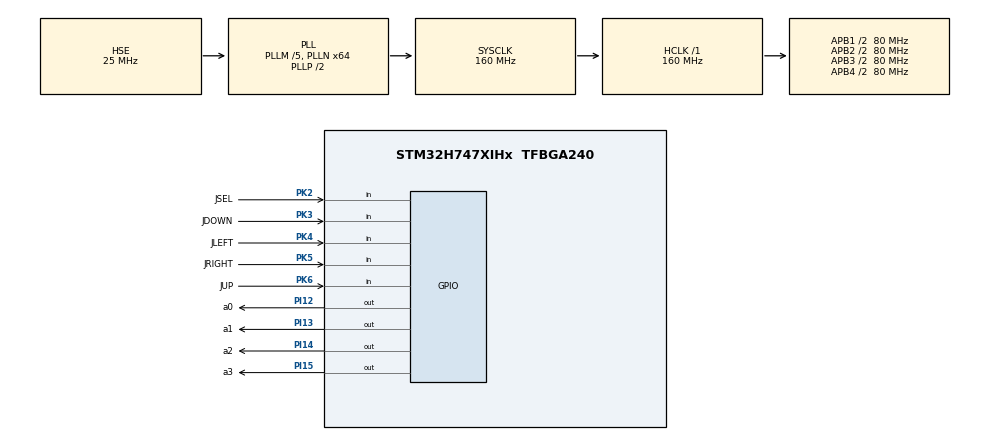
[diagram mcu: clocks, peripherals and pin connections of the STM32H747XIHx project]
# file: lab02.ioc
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CortexM4.IPs=BDMA,DMA,FATFS_M4\:I,FREERTOS_M4\:I,IWDG2\:I,MDMA,NVIC2\:I,RCC,USB_DEVICE_M4\:I,USB_HOST_M4\:I,WWDG2\:I,USART1,USB_OTG_HS\:I,SPI2\:I,ADC1\:I,ADC3\:I,FMC\:I,QUADSPI\:I,SAI1\:I,ETH\:I,SPI5\:I,TIM8\:I,UART8\:I,DCMI\:I,RTC\:I,SDMMC1\:I,SPDIFRX1\:I,HDMI_CEC\:I,TIM13\:I,TIM3\:I,DEBUG,PDM2PCM_M4\:I,PWR,RESMGR_UTILITY,SYS_M4\:I,CORTEX_M4\:I,OPENAMP_M4\:I,VREFBUF,GPIO
CortexM7.IPs=BDMA\:I,DMA\:I,FATFS_M7\:I,FREERTOS_M7\:I,IWDG1\:I,MDMA\:I,NVIC1\:I,RCC\:I,USB_DEVICE_M7\:I,USB_HOST_M7\:I,WWDG1\:I,USART1\:I,CORTEX_M7\:I,DEBUG\:I,PDM2PCM_M7\:I,PWR\:I,RESMGR_UTILITY\:I,SYS\:I,OPENAMP_M7\:I,VREFBUF\:I,GPIO\:I
CortexM7.Pins=PK5,PK4,PK6,PK3,PI12,PI13,PI14,PK2,PI15
Mcu.Family=STM32H7
Mcu.Name=STM32H747XIHx
Mcu.Package=TFBGA240
NVIC1.PriorityGroup=NVIC_PRIORITYGROUP_4
NVIC2.PriorityGroup=NVIC_PRIORITYGROUP_4
PH0-OSC_IN\ (PH0).Mode=HSE-External-Oscillator
PH0-OSC_IN\ (PH0).PinAttribute=Free
PH0-OSC_IN\ (PH0).Signal=RCC_OSC_IN
PH1-OSC_OUT\ (PH1).Mode=HSE-External-Oscillator
PH1-OSC_OUT\ (PH1).PinAttribute=Free
PH1-OSC_OUT\ (PH1).Signal=RCC_OSC_OUT
PI12.GPIO_Label=a0
PI12.PinAttribute=CortexM7
PI12.Signal=GPIO_Output
PI13.GPIO_Label=a1
PI13.PinAttribute=CortexM7
PI13.Signal=GPIO_Output
PI14.GPIO_Label=a2
PI14.PinAttribute=CortexM7
PI14.Signal=GPIO_Output
PI15.GPIO_Label=a3
PI15.PinAttribute=CortexM7
PI15.Signal=GPIO_Output
PK2.GPIO_Label=JSEL
PK2.GPIO_PuPd=GPIO_PULLUP
PK2.PinAttribute=CortexM7
PK2.Signal=GPIO_Input
PK3.GPIO_Label=JDOWN
PK3.GPIO_PuPd=GPIO_PULLUP
PK3.PinAttribute=CortexM7
PK3.Signal=GPIO_Input
PK4.GPIO_Label=JLEFT
PK4.GPIO_PuPd=GPIO_PULLUP
PK4.PinAttribute=CortexM7
PK4.Signal=GPIO_Input
PK5.GPIO_Label=JRIGHT
PK5.GPIO_PuPd=GPIO_PULLUP
PK5.PinAttribute=CortexM7
PK5.Signal=GPIO_Input
PK6.GPIO_Label=JUP
PK6.GPIO_PuPd=GPIO_PULLUP
PK6.PinAttribute=CortexM7
PK6.Signal=GPIO_Input
ProjectManager.HeapSize=M4-0x200,M7-0x200
ProjectManager.StackSize=M4-0x400,M7-0x400
ProjectManager.TargetToolchain=STM32CubeIDE
RCC.ADCFreq_Value=75000000
RCC.APB1Freq_Value=80000000
RCC.APB2Freq_Value=80000000
RCC.APB3Freq_Value=80000000
RCC.APB4Freq_Value=80000000
RCC.CortexFreq_Value=160000000
RCC.D1PPRE=RCC_APB3_DIV2
RCC.D2PPRE1=RCC_APB1_DIV2
RCC.D2PPRE2=RCC_APB2_DIV2
RCC.D3PPRE=RCC_APB4_DIV2
RCC.DIVM1=5
RCC.DIVM2=2
RCC.DIVN1=64
RCC.DIVN2=12
RCC.DIVQ1=5
RCC.HCLKFreq_Value=160000000
RCC.PLL2FRACN=0
RCC.PLL3FRACN=0
RCC.PLLFRACN=0
RCC.PLLSourceVirtual=RCC_PLLSOURCE_HSE
RCC.PWR_Regulator_Voltage_Scale=PWR_REGULATOR_VOLTAGE_SCALE1
RCC.SYSCLKFreq_VALUE=160000000
RCC.SYSCLKSource=RCC_SYSCLKSOURCE_PLLCLK
RCC.SupplySource=PWR_DIRECT_SMPS_SUPPLY
RCC.USBFreq_Value=64000000
VP_SYS_M4_VS_Systick.Mode=SysTick
board=STM32H747I-DISCO

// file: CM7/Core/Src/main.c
/* USER CODE BEGIN Header */
/**
  ******************************************************************************
  * @file           : main.c
  * @brief          : Main program body
  ******************************************************************************
  * @attention
  *
  * Copyright (c) 2024 STMicroelectronics.
  * All rights reserved.
  *
  * This software is licensed under terms that can be found in the LICENSE file
  * in the root directory of this software component.
  * If no LICENSE file comes with this software, it is provided AS-IS.
  *
  ******************************************************************************
  */
/* USER CODE END Header */
#include "main.h"

/* USER CODE BEGIN PD */

#ifndef HSEM_ID_0
#define HSEM_ID_0 (0U) /* HW semaphore 0*/
#endif

/* USER CODE END PD */

void SystemClock_Config(void);
static void MX_GPIO_Init(void);
/* USER CODE BEGIN PFP */

uint8_t up_last_state = GPIO_PIN_RESET;
uint8_t up_current_state;

uint8_t down_last_state = GPIO_PIN_RESET;
uint8_t down_current_state;

uint8_t left_last_state = GPIO_PIN_RESET;
uint8_t left_current_state;

uint8_t right_last_state = GPIO_PIN_RESET;
uint8_t right_current_state;

uint8_t select_last_state = GPIO_PIN_RESET;
uint8_t select_current_state;

uint8_t a0_state = 0;
uint8_t a1_state = 0;
uint8_t a2_state = 0;
uint8_t a3_state = 0;
uint8_t leds_locked = 0;
uint8_t select_off = 0;

uint32_t my_initialized_var = 200;
uint32_t my_initialized_var1 = 300;
uint32_t my_initialized_var2 = 400;

void toggle_a0() {
    LL_GPIO_TogglePin(GPIOI, a0_Pin);
    a0_state = !a0_state;
}
void toggle_a1() {
    LL_GPIO_TogglePin(GPIOI, a1_Pin);
    a1_state = !a1_state;
}
void toggle_a2() {
    LL_GPIO_TogglePin(GPIOI, a2_Pin);
    a2_state = !a2_state;
}
void toggle_a3() {
    LL_GPIO_TogglePin(GPIOI, a3_Pin);
    a3_state = !a3_state;
}

void update_led_states(void) {
    uint32_t pins[] = {a0_Pin, a1_Pin, a2_Pin, a3_Pin};
    int states[] = {a0_state, a1_state, a2_state, a3_state};

    for (int i = 0; i < 4; i++) {
        if (states[i] == 0) {
            LL_GPIO_SetOutputPin(GPIOI, pins[i]);
        } else {
            LL_GPIO_ResetOutputPin(GPIOI, pins[i]);
        }
    }
}

void update_input_states()
{
	up_last_state = up_current_state;
	down_last_state = down_current_state;
	left_last_state = left_current_state;
	right_last_state = right_current_state;
}

void initialize_leds(void)
{
	leds_locked = 0;
	a0_state = 0;
	a1_state = 0;
	a2_state = 1;
	a3_state = 0;
	update_led_states();
}

void turn_off_all(void)
{
	a0_state = 0;
	a1_state = 0;
	a2_state = 0;
	a3_state = 0;
	update_led_states();
}

void initialize_inputs(void)
{
    up_current_state = LL_GPIO_IsInputPinSet(GPIOK, JUP_Pin);
    down_current_state = LL_GPIO_IsInputPinSet(GPIOK, JDOWN_Pin);
    left_current_state = LL_GPIO_IsInputPinSet(GPIOK, JLEFT_Pin);
    right_current_state = LL_GPIO_IsInputPinSet(GPIOK, JRIGHT_Pin);
    select_current_state = LL_GPIO_IsInputPinSet(GPIOK, JSEL_Pin);
}
void handle_input(void)
{
    initialize_inputs();
    if (leds_locked == 1) {
        return;
    }
    if (up_last_state == GPIO_PIN_RESET && up_current_state == GPIO_PIN_SET) {
        if (a0_state == 0) {
            toggle_a0();
        } else if (a1_state == 0) {
            toggle_a1();
        } else if (a2_state == 0) {
            toggle_a2();
        } else if (a3_state == 0) {
            toggle_a3();
        }
    }

    if (down_last_state == GPIO_PIN_RESET && down_current_state == GPIO_PIN_SET) {
        if (a3_state == 1) {
            toggle_a3();
        } else if (a2_state == 1) {
            toggle_a2();
        } else if (a1_state == 1) {
            toggle_a1();
        } else if (a0_state == 1) {
            toggle_a0();
        }
    }

    if (left_last_state == GPIO_PIN_RESET && left_current_state == GPIO_PIN_SET) {
        int temp_left = a0_state;
        a0_state = a3_state;
        a3_state = a2_state;
        a2_state = a1_state;
        a1_state = temp_left;
        update_led_states();
    }

    if (right_last_state == GPIO_PIN_RESET && right_current_state == GPIO_PIN_SET) {
        int temp_left = a0_state;
        a0_state = a1_state;
        a1_state = a2_state;
        a2_state = a3_state;
        a3_state = temp_left;
        update_led_states();
    }

    update_input_states();
}

void lock_leds(void) { leds_locked = 1; }
void unlock_leds(void) { leds_locked = 0; }
void reset_leds(void)
{
    a0_state = 0;
    a1_state = 0;
    a2_state = 0;
    a3_state = 0;
    update_led_states();
    leds_locked = 1;
}
/* USER CODE END PFP */

int main(void)
{

/* USER CODE BEGIN Boot_Mode_Sequence_0 */
  int32_t timeout;
/* USER CODE END Boot_Mode_Sequence_0 */

/* USER CODE BEGIN Boot_Mode_Sequence_1 */
  /* Wait until CPU2 boots and enters in stop mode or timeout*/
  timeout = 0xFFFF;
  while((__HAL_RCC_GET_FLAG(RCC_FLAG_D2CKRDY) != RESET) && (timeout-- > 0));
  if ( timeout < 0 )
  {
  Error_Handler();
  }
/* USER CODE END Boot_Mode_Sequence_1 */
  /* MCU Configuration--------------------------------------------------------*/

  /* Reset of all peripherals, Initializes the Flash interface and the Systick. */
  HAL_Init();

  /* Configure the system clock */
  SystemClock_Config();
/* USER CODE BEGIN Boot_Mode_Sequence_2 */
/* When system initialization is finished, Cortex-M7 will release Cortex-M4 by means of
HSEM notification */
/*HW semaphore Clock enable*/
__HAL_RCC_HSEM_CLK_ENABLE();
/*Take HSEM */
HAL_HSEM_FastTake(HSEM_ID_0);
/*Release HSEM in order to notify the CPU2(CM4)*/
HAL_HSEM_Release(HSEM_ID_0,0);
/* wait until CPU2 wakes up from stop mode */
timeout = 0xFFFF;
while((__HAL_RCC_GET_FLAG(RCC_FLAG_D2CKRDY) == RESET) && (timeout-- > 0));
if ( timeout < 0 )
{
Error_Handler();
}
/* USER CODE END Boot_Mode_Sequence_2 */

  /* Initialize all configured peripherals */
  MX_GPIO_Init();
  /* USER CODE BEGIN 2 */
  reset_leds();
  initialize_leds();
  turn_off_all();
  lock_leds();
  /* USER CODE END 2 */

  /* Infinite loop */
  while (1)
  {
	  handle_input();

	 	  select_current_state = LL_GPIO_IsInputPinSet(GPIOK, JSEL_Pin);
	 	  if (select_last_state == GPIO_PIN_RESET && select_current_state == GPIO_PIN_SET) {
	 		  if (select_off == 0)
	 		  {
	 			  turn_off_all();
	 			  select_off = 1;
	 		  } else if (select_off == 1)
	 		  {
	 			  unlock_leds();
	 			  initialize_leds();
	 			  select_off = 2;
	 		  } else if (select_off == 2)
	 		  {
	 			  lock_leds();
	 			  select_off = 0;
	 		  }
	 	  }
	 	  select_last_state = select_current_state;
	 	  LL_mDelay(20);
  }
}

void SystemClock_Config(void)
{
  RCC_OscInitTypeDef RCC_OscInitStruct = {0};
  RCC_ClkInitTypeDef RCC_ClkInitStruct = {0};

  /** Supply configuration update enable
  */
  HAL_PWREx_ConfigSupply(PWR_DIRECT_SMPS_SUPPLY);

  /** Configure the main internal regulator output voltage
  */
  __HAL_PWR_VOLTAGESCALING_CONFIG(PWR_REGULATOR_VOLTAGE_SCALE1);

  while(!__HAL_PWR_GET_FLAG(PWR_FLAG_VOSRDY)) {}

  /** Initializes the RCC Oscillators according to the specified parameters
  * in the RCC_OscInitTypeDef structure.
  */
  RCC_OscInitStruct.OscillatorType = RCC_OSCILLATORTYPE_HSE;
  RCC_OscInitStruct.HSEState = RCC_HSE_ON;
  RCC_OscInitStruct.PLL.PLLState = RCC_PLL_ON;
  RCC_OscInitStruct.PLL.PLLSource = RCC_PLLSOURCE_HSE;
  RCC_OscInitStruct.PLL.PLLM = 5;
  RCC_OscInitStruct.PLL.PLLN = 64;
  RCC_OscInitStruct.PLL.PLLP = 2;
  RCC_OscInitStruct.PLL.PLLQ = 5;
  RCC_OscInitStruct.PLL.PLLR = 2;
  RCC_OscInitStruct.PLL.PLLRGE = RCC_PLL1VCIRANGE_2;
  RCC_OscInitStruct.PLL.PLLVCOSEL = RCC_PLL1VCOWIDE;
  RCC_OscInitStruct.PLL.PLLFRACN = 0;
  if (HAL_RCC_OscConfig(&RCC_OscInitStruct) != HAL_OK)
  {
    Error_Handler();
  }

  /** Initializes the CPU, AHB and APB buses clocks
  */
  RCC_ClkInitStruct.ClockType = RCC_CLOCKTYPE_HCLK|RCC_CLOCKTYPE_SYSCLK
                              |RCC_CLOCKTYPE_PCLK1|RCC_CLOCKTYPE_PCLK2
                              |RCC_CLOCKTYPE_D3PCLK1|RCC_CLOCKTYPE_D1PCLK1;
  RCC_ClkInitStruct.SYSCLKSource = RCC_SYSCLKSOURCE_PLLCLK;
  RCC_ClkInitStruct.SYSCLKDivider = RCC_SYSCLK_DIV1;
  RCC_ClkInitStruct.AHBCLKDivider = RCC_HCLK_DIV1;
  RCC_ClkInitStruct.APB3CLKDivider = RCC_APB3_DIV2;
  RCC_ClkInitStruct.APB1CLKDivider = RCC_APB1_DIV2;
  RCC_ClkInitStruct.APB2CLKDivider = RCC_APB2_DIV2;
  RCC_ClkInitStruct.APB4CLKDivider = RCC_APB4_DIV2;

  if (HAL_RCC_ClockConfig(&RCC_ClkInitStruct, FLASH_LATENCY_2) != HAL_OK)
  {
    Error_Handler();
  }
}

static void MX_GPIO_Init(void)
{
  LL_GPIO_InitTypeDef GPIO_InitStruct = {0};

  /* GPIO Ports Clock Enable */
  LL_AHB4_GRP1_EnableClock(LL_AHB4_GRP1_PERIPH_GPIOK);
  LL_AHB4_GRP1_EnableClock(LL_AHB4_GRP1_PERIPH_GPIOI);

  /**/
  LL_GPIO_ResetOutputPin(GPIOI, a0_Pin|a1_Pin|a2_Pin|a3_Pin);

  /**/
  GPIO_InitStruct.Pin = JRIGHT_Pin|JLEFT_Pin|JUP_Pin|JDOWN_Pin
                          |JSEL_Pin;
  GPIO_InitStruct.Mode = LL_GPIO_MODE_INPUT;
  GPIO_InitStruct.Pull = LL_GPIO_PULL_UP;
  LL_GPIO_Init(GPIOK, &GPIO_InitStruct);

  /**/
  GPIO_InitStruct.Pin = a0_Pin|a1_Pin|a2_Pin|a3_Pin;
  GPIO_InitStruct.Mode = LL_GPIO_MODE_OUTPUT;
  GPIO_InitStruct.Speed = LL_GPIO_SPEED_FREQ_LOW;
  GPIO_InitStruct.OutputType = LL_GPIO_OUTPUT_PUSHPULL;
  GPIO_InitStruct.Pull = LL_GPIO_PULL_NO;
  LL_GPIO_Init(GPIOI, &GPIO_InitStruct);

}

void Error_Handler(void)
{
  __disable_irq();
  while (1)
  {
  }
}
